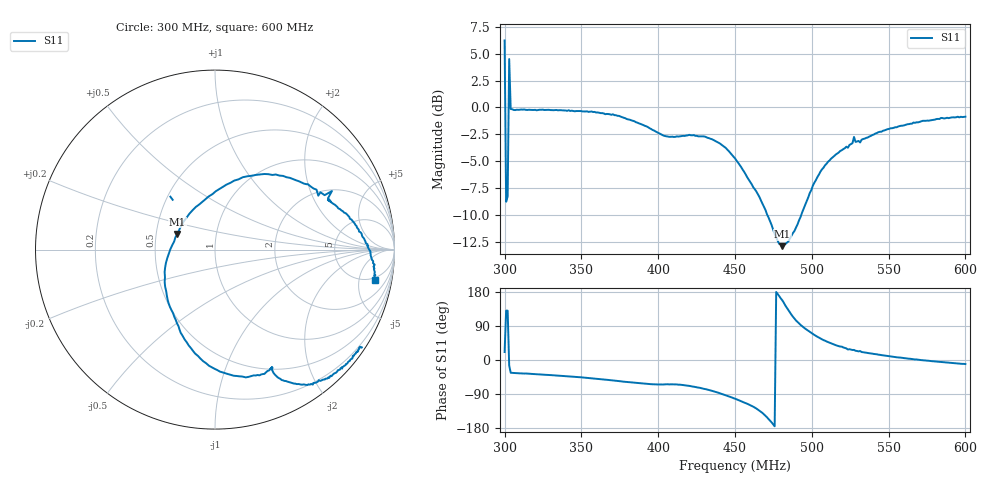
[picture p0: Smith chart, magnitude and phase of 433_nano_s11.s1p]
# Hz S RI R 50
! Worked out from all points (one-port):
!   303 points, 300 MHz to 600 MHz, reference 50 ohm
!   lowest |S11| = -12.9 dB at 480.8 MHz (marker M1), VSWR 1.59, Z = 32.3 + j5.88 ohm
!   |S11| at or under -10 dB: 471 MHz to 493.1 MHz (22.12 MHz wide, 4.59 % of centre)
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3e8  1.911 0.7343
3.009933e8  -0.2358 0.2775
3.019867e8  -0.2487 0.2948
3.029801e8  1.624 -0.4223
3.039735e8  0.8178 -0.545
3.377482e8  0.7205 -0.6472
3.586091e8  0.6263 -0.7182
3.754965e8  0.5034 -0.7533
3.963574e8  0.3437 -0.7064
4.132449e8  0.3076 -0.6639
4.231787e8  0.2488 -0.7004
4.350992e8  0.1054 -0.7031
4.440396e8  -0.0343 -0.6466
4.509932e8  -0.1335 -0.5495
4.68874e8  -0.278 -0.2053
4.807945e8  -0.2092 0.0865
4.877481e8  -0.1064 0.2381
4.986753e8  0.1079 0.3848
5.056289e8  0.2743 0.4212
5.155627e8  0.4678 0.3807
5.235097e8  0.5754 0.3005
5.254965e8  0.5993 0.3115
5.274832e8  0.6516 0.3262
5.284766e8  0.6292 0.2856
5.314567e8  0.6287 0.2767
5.433773e8  0.7438 0.1867
5.632448e8  0.8345 0.0515
5.999998e8  0.8893 -0.1676
